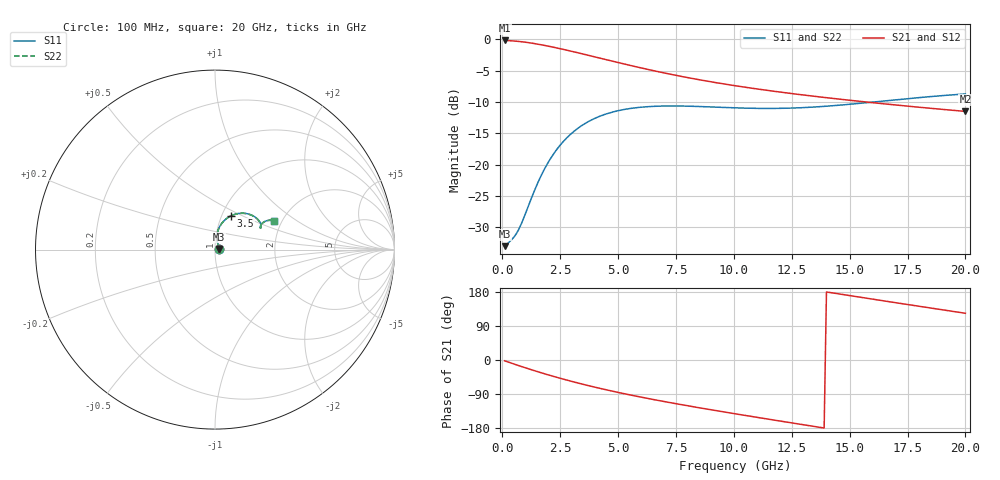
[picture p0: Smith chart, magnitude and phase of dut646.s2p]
! Touchstone file exported from HFSS 2024.1.0
!  File:  C:/UserFiles/LocalFiles/RDL_TSV_Batchsim/temp_RDL_TSV_646_1779807867.aedt
!  Generated:  11:22:06 PM May 26, 2026
!  Design:  RDL_TSV
!  Project:  temp_RDL_TSV_646_1779807867
!  Setup:  Setup1
!  Solution:  Sweep
! Variables:
!  dtsv = 9.22um
!  hbump = 3um
!  htsv = 99.67um
!  ldown = 502.88um
!  lrdl = 409.4um
!  p = 40
!  p1 = 54.8um
!  rhole = 10um
!  subl = 3146.24um
!  t = 450um
!  tdown = 2.49um
!  trdl = 4.33um
!  viad = 10um
!  wdown = 13.91um
!  wrdl = 21.58um
!  xbump = 18um
# GHz S MA R 50.000000
! Terminal data exported
! Port[1] = TM1_1_T1
! Port[2] = TM1_4_T1
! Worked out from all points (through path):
!   200 points, 100 MHz to 20 GHz, reference 50 ohm
!   highest |S21| = -0.20 dB at 100 MHz (marker M1); lowest = -11.5 dB at 20 GHz (marker M2)
!   group delay of S21, straight-line fit = 30.8 ps
!   lowest |S11| = -33.0 dB at 100 MHz (marker M3), VSWR 1.05, Z = 52.3 + j0.376 ohm
!   |S11| at or under -10 dB: start of sweep to 16.09 GHz
!   |S22| runs from -33.0 to -8.8 dB; largest |S21 - S12| = 3.7e-14
!   S11 on the Smith chart (normalised r, x): 100 MHz: 1.05, +0.01; 3.5 GHz: 1.11, +0.44; 20 GHz: 1.82, +0.67
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0.1  0.02231 9.3  0.9775 -2.1  0.9775 -2.1  0.02231 9.3
! Gamma 0 0 0 0
! Port Impedance 50 0 50 0
0.5  0.02632 38.9  0.9682 -10.5  0.9682 -10.5  0.02633 38.9
0.7  0.03011 53.1  0.9607 -14.6  0.9607 -14.6  0.03012 53.1
0.9  0.03641 65.1  0.9514 -18.7  0.9514 -18.7  0.03642 65.0
1.3  0.05643 78.7  0.9286 -26.5  0.9286 -26.5  0.05641 78.6
1.8  0.0904 82.1  0.8943 -35.9  0.8943 -35.9  0.09035 82.0
2.2  0.1204 79.8  0.864 -43.1  0.864 -43.1  0.1203 79.8
2.6  0.1501 75.7  0.8325 -49.9  0.8325 -49.9  0.15 75.6
3  0.1779 70.9  0.8006 -56.5  0.8006 -56.5  0.1777 70.8
3.5  0.2085 64.6  0.761 -64.3  0.761 -64.3  0.2083 64.5
4.2  0.2424 56.3  0.7077 -74.6  0.7077 -74.6  0.242 56.2
5.1  0.2713 47.1  0.6449 -86.8  0.6449 -86.8  0.2708 47.0
5.9  0.2856 40.4  0.5955 -96.9  0.5955 -96.9  0.285 40.3
6.8  0.2925 34.5  0.5473 -107.5  0.5473 -107.5  0.2918 34.5
8.3  0.2913 28.2  0.4825 -123.9  0.4825 -123.9  0.2905 28.2
10.1  0.2832 25.4  0.4243 -142.4  0.4243 -142.4  0.2824 25.4
11.7  0.2803 25.9  0.385 -158.2  0.385 -158.2  0.2795 25.9
13.4  0.2871 27.8  0.3517 -174.7  0.3517 -174.7  0.2862 27.8
15.1  0.3037 29.2  0.3243 169.0  0.3243 169.0  0.3028 29.3
16.7  0.3245 29.3  0.3023 153.9  0.3023 153.9  0.3237 29.4
18.3  0.3461 28.2  0.2831 139.0  0.2831 139.0  0.3452 28.2
20  0.3659 26.0  0.2655 123.3  0.2655 123.3  0.3649 26.0
